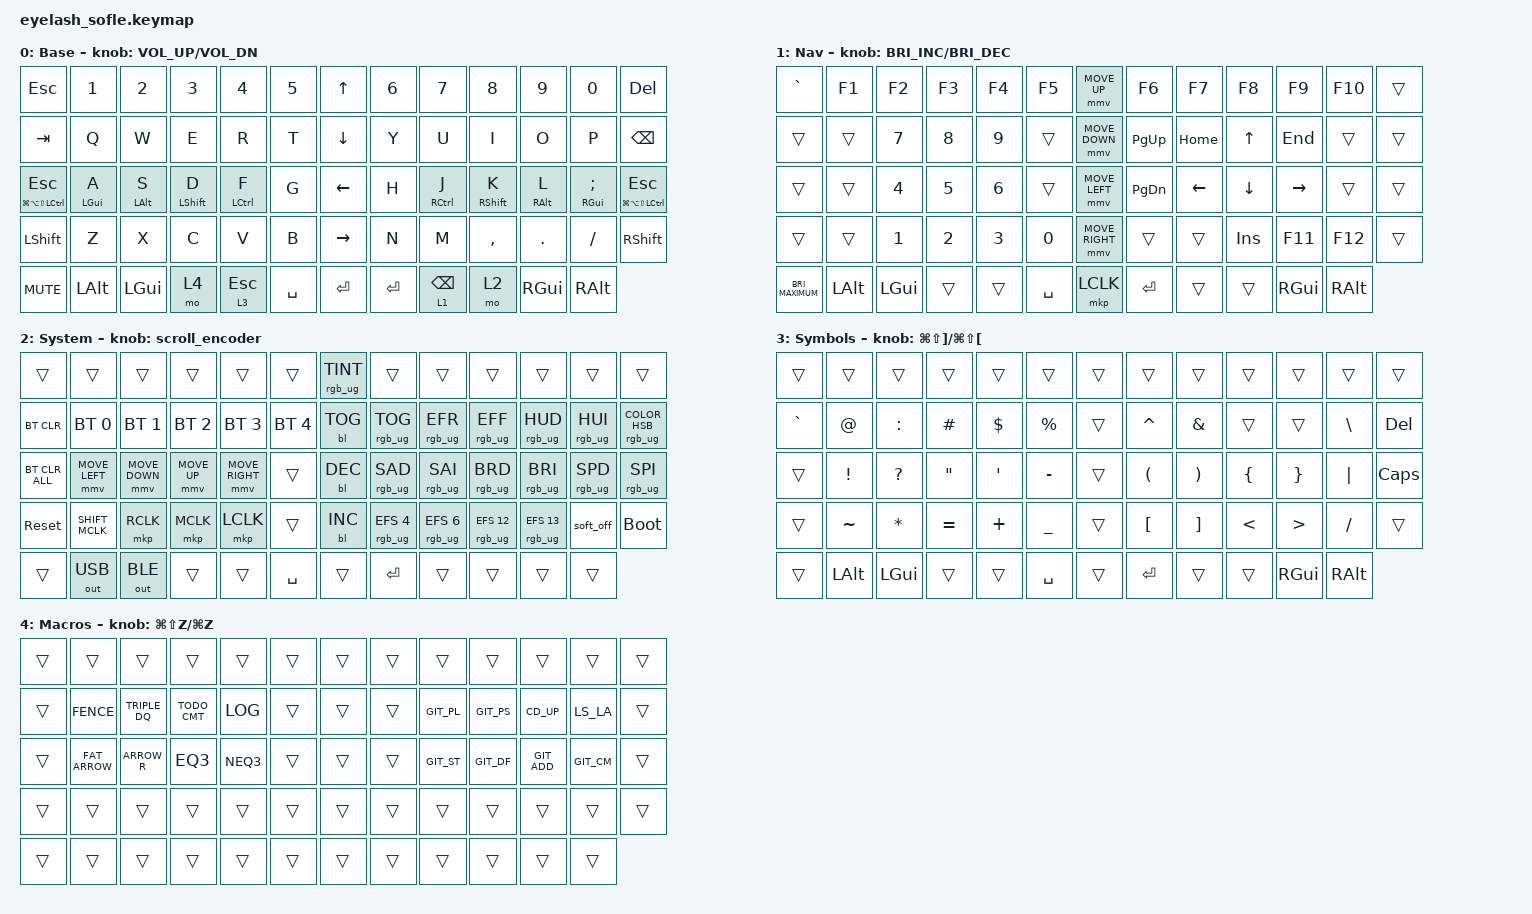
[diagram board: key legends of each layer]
#define ZMK_POINTING_DEFAULT_MOVE_VAL 1200  // 600
#define ZMK_POINTING_DEFAULT_SCRL_VAL 25   // 10

#include <input/processors.dtsi>
#include <zephyr/dt-bindings/input/input-event-codes.h>
#include <behaviors.dtsi>
#include <dt-bindings/zmk/backlight.h>
#include <dt-bindings/zmk/bt.h>
#include <dt-bindings/zmk/keys.h>
#include <dt-bindings/zmk/outputs.h>
#include <dt-bindings/zmk/pointing.h>
#include <dt-bindings/zmk/rgb.h>

&mmv_input_listener { input-processors = <&zip_xy_scaler 2 1>; };

&msc_input_listener { input-processors = <&zip_scroll_scaler 2 1>; };

&msc {
    acceleration-exponent = <1>;      // 0
    time-to-max-speed-ms = <100>;       // 300
    delay-ms = <0>;                   // 0
};

&mmv {
    time-to-max-speed-ms = <500>;
    acceleration-exponent = <1>;
    trigger-period-ms = <16>;
};

&soft_off { hold-time-ms = <2000>; };

/ {
    scroll_encoder: scroll_encoder {
        compatible = "zmk,behavior-sensor-rotate";
        #sensor-binding-cells = <0>;
        bindings = <&msc SCRL_DOWN>, <&msc SCRL_UP>;

        tap-ms = <100>;
    };

    behaviors {
        hm: hm {
            compatible = "zmk,behavior-hold-tap";
            label = "HM";
            #binding-cells = <2>;
            flavor = "tap-preferred";
            tapping-term-ms = <200>;
            quick-tap-ms = <2>;
            bindings = <&kp>, <&kp>;
        };

        // Layer on hold, keycode on tap, for the thumbs. Two departures from
        // ZMK's own &lt: "balanced" so that pressing a key on the layer within
        // the tapping term still gives the layer rather than the tap, and a
        // quick-tap window so tap-then-hold repeats the keycode instead of
        // opening the layer — without it, holding Backspace is impossible.
        tl: thumb_layer {
            compatible = "zmk,behavior-hold-tap";
            label = "TL";
            #binding-cells = <2>;
            flavor = "balanced";
            tapping-term-ms = <200>;
            quick-tap-ms = <200>;
            bindings = <&mo>, <&kp>;
        };
    };

    combos {
        compatible = "zmk,combos";

        softoff {
            bindings = <&soft_off>;
            key-positions = <14 28 40>;
        };
    };

    macros {
        SHIFT_MCLK: SHIFT_MCLK {
            compatible = "zmk,behavior-macro";
            #binding-cells = <0>;
            bindings =
                <&macro_press>,
                <&kp LEFT_SHIFT>,
                <&macro_press>,
                <&mkp MB3>,
                <&macro_pause_for_release>,
                <&macro_release>,
                <&kp LEFT_SHIFT &mkp MB3>;

            label = "SHIFT_MCLK";
        };

        TRIPLE_DQ: TRIPLE_DQ {
            compatible = "zmk,behavior-macro";
            #binding-cells = <0>;
            bindings = <&kp DQT &kp DQT &kp DQT>;
            label = "TRIPLE_DQ";
        };

        ARROW_L: ARROW_L {
            compatible = "zmk,behavior-macro";
            #binding-cells = <0>;
            bindings = <&kp LT &kp MINUS>;
            label = "ARROW_L";
        };

        ARROW_R: ARROW_R {
            compatible = "zmk,behavior-macro";
            #binding-cells = <0>;
            bindings = <&kp MINUS &kp GT>;
            label = "ARROW_R";
        };

        // Unbound dev macros: assign them to keys wherever you like.

        FAT_ARROW: FAT_ARROW {
            compatible = "zmk,behavior-macro";
            #binding-cells = <0>;
            wait-ms = <10>;
            tap-ms = <10>;
            bindings = <&kp EQUAL &kp GT>;
            label = "FAT_ARROW";
        };

        EQ3: EQ3 {
            compatible = "zmk,behavior-macro";
            #binding-cells = <0>;
            wait-ms = <10>;
            tap-ms = <10>;
            bindings = <&kp EQUAL &kp EQUAL &kp EQUAL>;
            label = "EQ3";
        };

        NEQ3: NEQ3 {
            compatible = "zmk,behavior-macro";
            #binding-cells = <0>;
            wait-ms = <10>;
            tap-ms = <10>;
            bindings = <&kp EXCL &kp EQUAL &kp EQUAL>;
            label = "NEQ3";
        };

        FENCE: FENCE {
            compatible = "zmk,behavior-macro";
            #binding-cells = <0>;
            wait-ms = <10>;
            tap-ms = <10>;
            bindings = <&kp GRAVE &kp GRAVE &kp GRAVE>;
            label = "FENCE";
        };

        TODO_CMT: TODO_CMT {
            compatible = "zmk,behavior-macro";
            #binding-cells = <0>;
            wait-ms = <10>;
            tap-ms = <10>;
            bindings = <&kp SLASH &kp SLASH &kp SPACE &kp LS(T) &kp LS(O) &kp LS(D) &kp LS(O) &kp COLON &kp SPACE>;
            label = "TODO_CMT";
        };

        // console.log(), cursor left inside the parentheses

        LOG: LOG {
            compatible = "zmk,behavior-macro";
            #binding-cells = <0>;
            wait-ms = <10>;
            tap-ms = <10>;
            bindings = <&kp C &kp O &kp N &kp S &kp O &kp L &kp E &kp DOT &kp L &kp O &kp G &kp LPAR &kp RPAR &kp LEFT>;
            label = "LOG";
        };

        GIT_ST: GIT_ST {
            compatible = "zmk,behavior-macro";
            #binding-cells = <0>;
            wait-ms = <10>;
            tap-ms = <10>;
            bindings = <&kp G &kp I &kp T &kp SPACE &kp S &kp T &kp A &kp T &kp U &kp S &kp ENTER>;
            label = "GIT_ST";
        };

        GIT_DF: GIT_DF {
            compatible = "zmk,behavior-macro";
            #binding-cells = <0>;
            wait-ms = <10>;
            tap-ms = <10>;
            bindings = <&kp G &kp I &kp T &kp SPACE &kp D &kp I &kp F &kp F &kp ENTER>;
            label = "GIT_DF";
        };

        GIT_ADD: GIT_ADD {
            compatible = "zmk,behavior-macro";
            #binding-cells = <0>;
            wait-ms = <10>;
            tap-ms = <10>;
            bindings = <&kp G &kp I &kp T &kp SPACE &kp A &kp D &kp D &kp SPACE &kp MINUS &kp LS(A) &kp ENTER>;
            label = "GIT_ADD";
        };

        // git commit -m "" with the cursor between the quotes

        GIT_CM: GIT_CM {
            compatible = "zmk,behavior-macro";
            #binding-cells = <0>;
            wait-ms = <10>;
            tap-ms = <10>;
            bindings = <&kp G &kp I &kp T &kp SPACE &kp C &kp O &kp M &kp M &kp I &kp T &kp SPACE &kp MINUS &kp M &kp SPACE &kp DQT &kp DQT &kp LEFT>;
            label = "GIT_CM";
        };

        GIT_PS: GIT_PS {
            compatible = "zmk,behavior-macro";
            #binding-cells = <0>;
            wait-ms = <10>;
            tap-ms = <10>;
            bindings = <&kp G &kp I &kp T &kp SPACE &kp P &kp U &kp S &kp H &kp ENTER>;
            label = "GIT_PS";
        };

        GIT_PL: GIT_PL {
            compatible = "zmk,behavior-macro";
            #binding-cells = <0>;
            wait-ms = <10>;
            tap-ms = <10>;
            bindings = <&kp G &kp I &kp T &kp SPACE &kp P &kp U &kp L &kp L &kp ENTER>;
            label = "GIT_PL";
        };

        CD_UP: CD_UP {
            compatible = "zmk,behavior-macro";
            #binding-cells = <0>;
            wait-ms = <10>;
            tap-ms = <10>;
            bindings = <&kp C &kp D &kp SPACE &kp DOT &kp DOT &kp ENTER>;
            label = "CD_UP";
        };

        LS_LA: LS_LA {
            compatible = "zmk,behavior-macro";
            #binding-cells = <0>;
            wait-ms = <10>;
            tap-ms = <10>;
            bindings = <&kp L &kp S &kp SPACE &kp MINUS &kp L &kp A &kp ENTER>;
            label = "LS_LA";
        };
    };

    keymap {
        compatible = "zmk,keymap";

        Base {
            bindings = <
&kp ESC                              &kp N1          &kp N2          &kp N3            &kp N4       &kp N5       &kp UP_ARROW     &kp N6     &kp N7       &kp N8             &kp N9           &kp N0              &kp DELETE
&kp TAB                              &kp Q           &kp W           &kp E             &kp R        &kp T        &kp DOWN_ARROW   &kp Y      &kp U        &kp I              &kp O            &kp P               &kp BACKSPACE
&mt LG(LA(LS(LEFT_CONTROL))) ESCAPE  &hm LEFT_GUI A  &hm LEFT_ALT S  &hm LEFT_SHIFT D  &hm LCTRL F  &kp G        &kp LEFT_ARROW   &kp H      &hm RCTRL J  &hm RIGHT_SHIFT K  &hm RIGHT_ALT L  &hm RIGHT_GUI SEMI  &mt LG(LA(LS(LCTRL))) ESCAPE
&kp LSHFT                            &kp Z           &kp X           &kp C             &kp V        &kp B        &kp RIGHT_ARROW  &kp N      &kp M        &kp COMMA          &kp DOT          &kp FSLH            &kp RIGHT_SHIFT
&kp C_MUTE                           &kp LEFT_ALT    &kp LEFT_GUI    &mo 4             &tl 3 ESC    &kp SPACE    &kp ENTER        &kp ENTER  &tl 1 BSPC   &mo 2              &kp RIGHT_GUI    &kp RIGHT_ALT
            >;

            sensor-bindings = <&inc_dec_kp C_VOLUME_UP C_VOL_DN>;
            display-name = "Base";
        };

        Nav {
            bindings = <
&kp GRAVE                 &kp F1        &kp F2        &kp F3        &kp F4        &kp F5          &mmv MOVE_UP     &kp F6     &kp F7    &kp F8      &kp F9         &kp F10        &trans
&trans                    &trans        &kp NUMBER_7  &kp NUMBER_8  &kp NUMBER_9  &trans          &mmv MOVE_DOWN   &kp PG_UP  &kp HOME  &kp UP      &kp END        &trans         &trans
&trans                    &trans        &kp NUMBER_4  &kp NUMBER_5  &kp NUMBER_6  &trans          &mmv MOVE_LEFT   &kp PG_DN  &kp LEFT  &kp DOWN    &kp RIGHT      &trans         &trans
&trans                    &trans        &kp NUMBER_1  &kp NUMBER_2  &kp NUMBER_3  &kp NUMBER_0    &mmv MOVE_RIGHT  &trans     &trans    &kp INSERT  &kp F11        &kp F12        &trans
&kp C_BRIGHTNESS_MAXIMUM  &kp LEFT_ALT  &kp LEFT_GUI  &trans        &trans        &kp SPACE       &mkp LCLK        &kp ENTER  &trans    &trans      &kp RIGHT_GUI  &kp RIGHT_ALT
            >;

            display-name = "Nav";
            sensor-bindings = <&inc_dec_kp C_BRIGHTNESS_INC C_BRIGHTNESS_DEC>;
        };

        System {
            // Nothing on the number row, Corne style — bar the middle
            // column, which a Corne does not have either and which carries
            // the light switches. Left hand drives the pointer, right hand
            // the lighting, thumbs the output. The four keys that cost you
            // something if misfired sit alone in the corners.
            bindings = <
&trans        &trans           &trans           &trans           &trans           &trans             &rgb_ug RGB_TINT  &trans            &trans                 &trans                  &trans                  &trans                  &trans
&bt BT_CLR    &bt BT_SEL 0     &bt BT_SEL 1     &bt BT_SEL 2     &bt BT_SEL 3     &bt BT_SEL 4       &bl BL_TOG   &rgb_ug RGB_TOG        &rgb_ug RGB_EFR        &rgb_ug RGB_EFF         &rgb_ug RGB_HUD         &rgb_ug RGB_HUI         &rgb_ug RGB_COLOR_HSB(160,100,60)
&bt BT_CLR_ALL &mmv MOVE_LEFT  &mmv MOVE_DOWN   &mmv MOVE_UP     &mmv MOVE_RIGHT  &trans             &bl BL_DEC   &rgb_ug RGB_SAD        &rgb_ug RGB_SAI        &rgb_ug RGB_BRD         &rgb_ug RGB_BRI         &rgb_ug RGB_SPD         &rgb_ug RGB_SPI
&sys_reset    &SHIFT_MCLK      &mkp RCLK        &mkp MCLK        &mkp LCLK        &trans             &bl BL_INC   &rgb_ug RGB_EFS_CMD 4  &rgb_ug RGB_EFS_CMD 6  &rgb_ug RGB_EFS_CMD 12  &rgb_ug RGB_EFS_CMD 13  &soft_off               &bootloader
&trans        &out OUT_USB     &out OUT_BLE     &trans           &trans           &kp SPACE          &trans       &kp ENTER              &trans                 &trans                  &trans                  &trans
            >;

            display-name = "System";
            sensor-bindings = <&scroll_encoder>;
        };

        Symbols {
            bindings = <
&trans     &trans        &trans        &trans             &trans      &trans            &trans  &trans                &trans                 &trans          &trans            &trans         &trans
&kp GRAVE  &kp AT        &kp COLON     &kp HASH           &kp DOLLAR  &kp PERCENT       &trans  &kp CARET             &kp AMPERSAND          &trans          &trans            &kp BSLH       &kp DELETE
&trans     &kp EXCL      &kp QUESTION  &kp DOUBLE_QUOTES  &kp SQT     &kp MINUS         &trans  &kp LEFT_PARENTHESIS  &kp RIGHT_PARENTHESIS  &kp LEFT_BRACE  &kp RIGHT_BRACE   &kp PIPE       &kp CAPSLOCK
&trans     &kp TILDE     &kp STAR      &kp EQUAL          &kp PLUS    &kp UNDERSCORE    &trans  &kp LEFT_BRACKET      &kp RIGHT_BRACKET      &kp LESS_THAN   &kp GREATER_THAN  &kp FSLH       &trans
&trans     &kp LEFT_ALT  &kp LEFT_GUI  &trans             &trans      &kp SPACE         &trans  &kp ENTER             &trans                 &trans          &kp RIGHT_GUI     &kp RIGHT_ALT
            >;

            display-name = "Symbols";
            sensor-bindings = <&inc_dec_kp LG(LS(RBKT)) LG(LS(LBKT))>;
        };

        Macros {
            bindings = <
&trans  &trans      &trans       &trans     &trans  &trans    &trans  &trans   &trans   &trans    &trans   &trans   &trans
&trans  &FENCE      &TRIPLE_DQ   &TODO_CMT  &LOG    &trans    &trans  &trans   &GIT_PL  &GIT_PS   &CD_UP   &LS_LA   &trans
&trans  &FAT_ARROW  &ARROW_R     &EQ3       &NEQ3   &trans    &trans  &trans   &GIT_ST  &GIT_DF   &GIT_ADD &GIT_CM  &trans
&trans  &trans      &trans       &trans     &trans  &trans    &trans  &trans   &trans   &trans    &trans   &trans   &trans
&trans  &trans      &trans       &trans     &trans  &trans    &trans  &trans   &trans   &trans    &trans   &trans
            >;

            display-name = "Macros";
            sensor-bindings = <&inc_dec_kp LG(LS(Z)) LG(Z)>;
        };

    };
};
